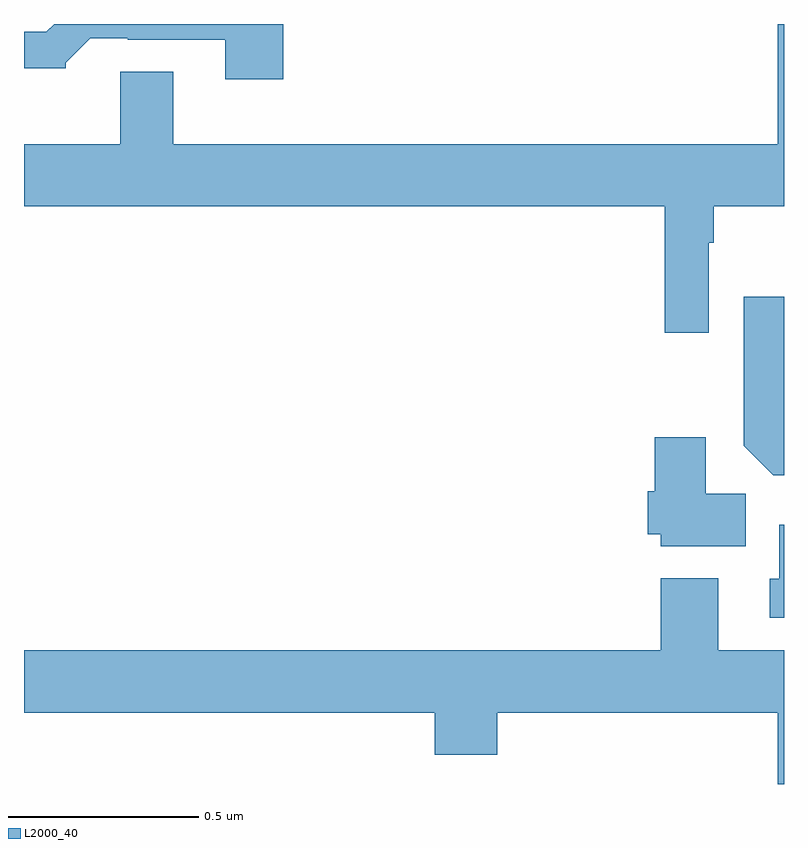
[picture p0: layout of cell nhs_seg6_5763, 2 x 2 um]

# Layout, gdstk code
import gdstk
lib = gdstk.Library(unit=1e-6, precision=1e-09)
def P(c, l, *ps):  # polygons
    for p in ps: c.add(gdstk.Polygon(p, *l))
L2000_40 = (2000, 40)

nhs_seg6_5763 = lib.new_cell('nhs_seg6_5763')
P(nhs_seg6_5763, L2000_40, [(188.802,929.924),(188.815,929.924),(188.815,930.02),(189,930.02),(189,930.5),(188.984,930.5),(188.984,930.184),(187.393,930.184),(187.393,930.374),(187.253,930.374),(187.253,930.184),(187,930.184),(187,930.02),(188.686,930.02),(188.686,929.688),(188.802,929.688)],
  [(187.682,930.5),(187.079,930.5),(187.059,930.48),(187,930.48),(187,930.383),(187.11,930.383),(187.11,930.398),(187.174,930.462),(187.273,930.462),(187.273,930.459),(187.529,930.459),(187.529,930.354),(187.682,930.354)],
  [(189,929.782),(188.894,929.782),(188.894,929.39),(188.972,929.312),(189,929.312)],
  [(188.899,929.264),(188.794,929.264),(188.794,929.413),(188.66,929.413),(188.66,929.271),(188.642,929.271),(188.642,929.157),(188.676,929.157),(188.676,929.126),(188.899,929.126)],
  [(189,929.182),(188.987,929.182),(188.987,929.04),(188.963,929.04),(188.963,928.938),(189,928.938)],
  [(189,928.852),(188.827,928.852),(188.827,929.041),(188.675,929.041),(188.675,928.852),(187,928.852),(187,928.688),(188.081,928.688),(188.081,928.577),(188.246,928.577),(188.246,928.688),(188.984,928.688),(188.984,928.5),(189,928.5)])

lib.write_gds('nhs_seg6_5763.gds')
